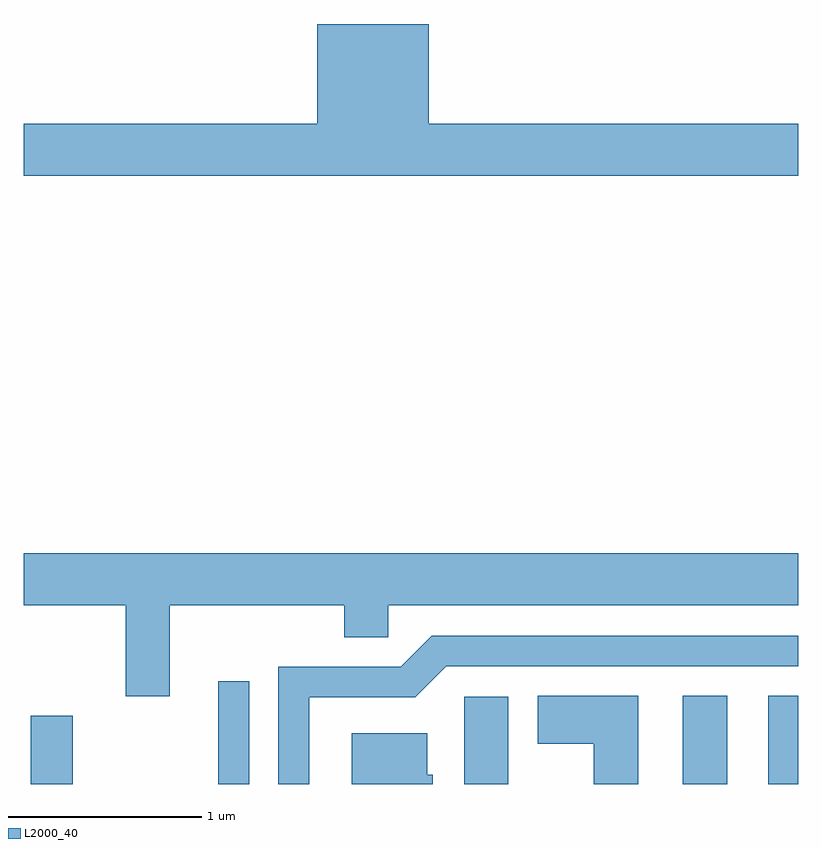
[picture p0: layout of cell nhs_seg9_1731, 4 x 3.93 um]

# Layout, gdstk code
import gdstk
lib = gdstk.Library(unit=1e-6, precision=1e-09)
def R(c, l, rs):  # rectangles x0, y0, x1, y1
    for r in rs: c.add(gdstk.rectangle(r[:2], r[2:], *l))
def P(c, l, *ps):  # polygons
    for p in ps: c.add(gdstk.Polygon(p, *l))
L2000_40 = (2000, 40)

nhs_seg9_1731 = lib.new_cell('nhs_seg9_1731')
R(nhs_seg9_1731, L2000_40, [(235.646,2006.432,235.864,2006.784), (236.616,2006.432,236.774,2006.963), (237.886,2006.432,238.114,2006.884), (239.016,2006.432,239.244,2006.889), (239.456,2006.432,239.611,2006.889)])
P(nhs_seg9_1731, L2000_40, [(239.611,2009.844),(237.704,2009.844),(237.704,2010.359),(237.126,2010.359),(237.126,2009.844),(235.611,2009.844),(235.611,2009.576),(239.611,2009.576)],
  [(236.364,2007.356),(237.266,2007.356),(237.266,2007.191),(237.494,2007.191),(237.494,2007.356),(239.611,2007.356),(239.611,2007.624),(235.611,2007.624),(235.611,2007.356),(236.136,2007.356),(236.136,2006.886),(236.364,2006.886)],
  [(237.084,2006.881),(237.632,2006.881),(237.792,2007.041),(239.611,2007.041),(239.611,2007.199),(237.719,2007.199),(237.559,2007.039),(236.926,2007.039),(236.926,2006.432),(237.084,2006.432)],
  [(238.784,2006.889),(238.266,2006.889),(238.266,2006.641),(238.556,2006.641),(238.556,2006.432),(238.784,2006.432)],
  [(237.724,2006.479),(237.694,2006.479),(237.694,2006.694),(237.306,2006.694),(237.306,2006.432),(237.724,2006.432)])

lib.write_gds('nhs_seg9_1731.gds')
